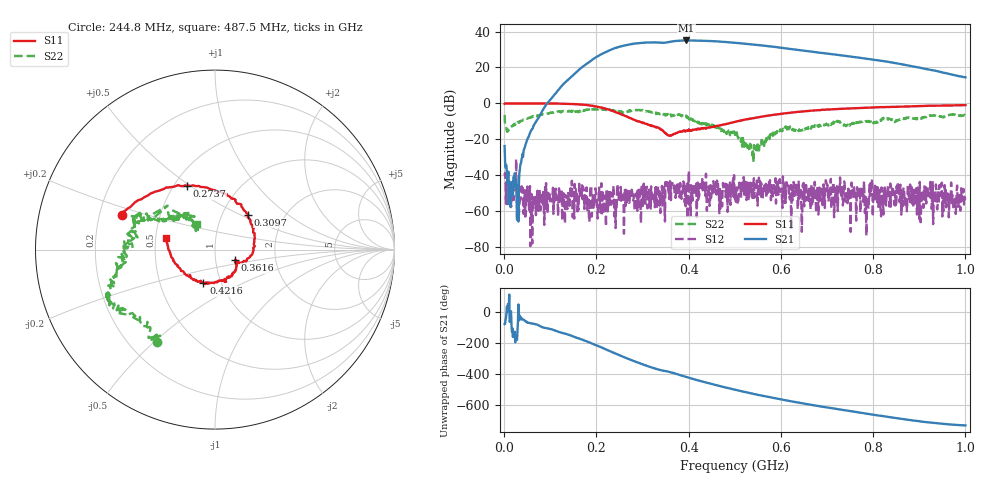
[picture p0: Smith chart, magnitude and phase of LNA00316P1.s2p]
! Created with skrf 1.9.0 (http://scikit-rf.org).
# Hz S RI R 50.0
!freq ReS11 ImS11 ReS21 ImS21 ReS12 ImS12 ReS22 ImS22
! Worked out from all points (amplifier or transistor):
!   1001 points, 1 MHz to 1 GHz, reference 50 ohm
!   highest |S21| = 35.0 dB at 394.6 MHz (marker M1)
!   |S21| within 3 dB of that: 257.5 MHz to 566 MHz (308.5 MHz wide, 74.9 % of centre)
!   unconditionally stable (mu >= 1): start of sweep to 88.33 MHz; 209.9 MHz to 400.3 MHz; 400.8 MHz to end of sweep (the widest 3 of 22)
!   at 166.8 MHz: K = 0.91, MSG = 34.2 dB, |S12| = -48.7 dB
!   at 500.5 MHz: K = 4.28, MAG = 34.3 dB, |S12| = -53.3 dB
!   at 1 GHz: K = 5.98, MAG = 22.8 dB, |S12| = -52.7 dB
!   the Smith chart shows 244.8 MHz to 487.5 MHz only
!   S11 on the Smith chart (normalised r, x): 244.8 MHz: 0.30, +0.17; 273.7 MHz: 0.58, +0.48; 309.7 MHz: 1.32, +0.56; 361.6 MHz: 1.25, -0.14; 421.6 MHz: 0.82, -0.32; 487.5 MHz: 0.57, +0.08
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1000000  0.9782 -0.000985  0.0132 -0.0638  -0.00564 0.00812  0.35 0.3287
1.08892e8  0.508 -0.8528  -0.8129 -1.531  -0.000272 0.00186  0.4278 -0.3702
1.67833e8  -0.2566 -0.8923  -9.951 -0.5104  -0.00243 -0.00174  0.0455 -0.6336
2.1079e8  -0.6896 -0.3463  -15.39 17.62  -0.00606 -0.000167  -0.2135 -0.6788
2.26774e8  -0.671 -0.0689  -10.09 27.54  -0.00138 0.00049  -0.2714 -0.5938
2.44756e8  -0.5159 0.1944  1.696 36.06  0.00254 -0.00311  -0.3208 -0.5153
2.73727e8  -0.1543 0.3531  27.71 34.39  -0.000561 -0.00251  -0.5407 -0.3302
3.09691e8  0.1855 0.1952  48.63 9.851  -0.00281 0.00392  -0.5791 -0.1718
3.34666e8  0.21 -0.0187  48.2 -10.62  -0.0022 0.00236  -0.5217 -0.0519
3.61639e8  0.1129 -0.0565  45.17 -26.14  -0.00096 0.00181  -0.4587 0.1105
3.94606e8  0.0708 -0.1572  27.9 -49.03  -0.005 0.000754  -0.433 0.1552
4.21579e8  -0.0651 -0.1855  6.578 -55.09  0.00224 0.0047  -0.2331 0.1621
4.5055e8  -0.1916 -0.1101  -15.03 -52.22  0.00423 0.0027  -0.1701 0.1967
4.87513e8  -0.2722 0.0659  -34.47 -36.49  0.00222 0.00155  -0.0981 0.1405
5.005e8  -0.2743 0.1351  -39.07 -29.48  -0.00184 -0.00115  -0.0862 0.1015
5.4046e8  -0.1935 0.3355  -42.6 -8.038  0.000655 -0.00635  -0.0212 0.00897
5.88412e8  0.0157 0.4929  -34.95 12.09  0.0076 -0.00345  -0.1107 -0.0943
6.67333e8  0.3926 0.4908  -13.1 23.94  -0.00126 0.000899  -0.2285 -0.0477
7.53247e8  0.6737 0.2825  4.252 19.46  -0.00623 -0.00102  -0.2704 -0.0049
8.34166e8  0.7947 0.0183  10.75 9.314  -0.00149 -0.00181  -0.3727 -0.0185
9.17083e8  0.8143 -0.2723  8.888 1.08  -0.00268 -0.00178  -0.4016 0.1573
1e9  0.7268 -0.5269  5.16 -1.27  0.00151 0.00177  -0.3574 0.3008
